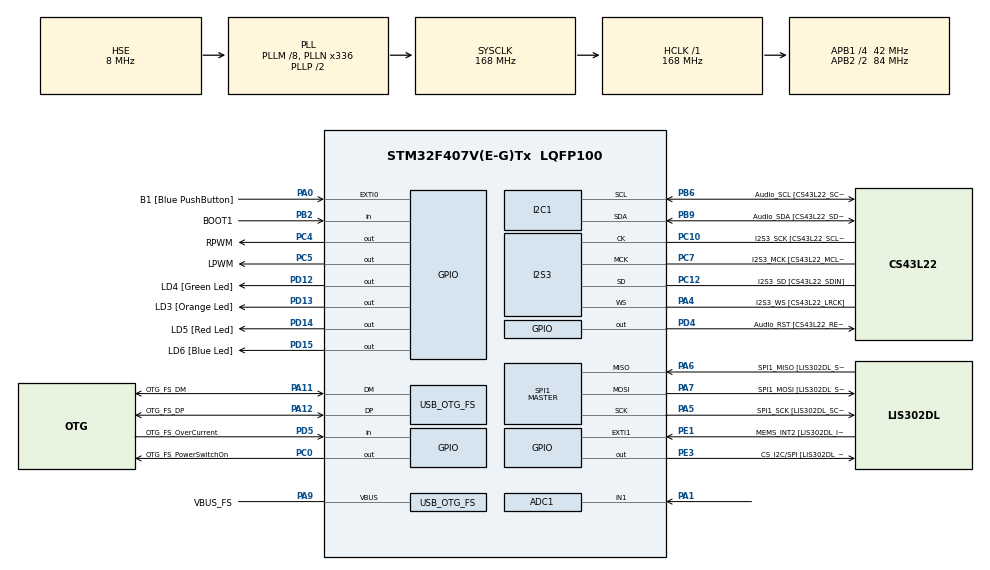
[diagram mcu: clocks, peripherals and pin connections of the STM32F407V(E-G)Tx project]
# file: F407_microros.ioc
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ADC1.Channel-1\#ChannelRegularConversion=ADC_CHANNEL_1
ADC1.NbrOfConversionFlag=1
ADC1.Rank-1\#ChannelRegularConversion=1
ADC1.SamplingTime-1\#ChannelRegularConversion=ADC_SAMPLETIME_3CYCLES
ADC1.master=1
Dma.ADC1.0.Direction=DMA_PERIPH_TO_MEMORY
Dma.ADC1.0.FIFOMode=DMA_FIFOMODE_DISABLE
Dma.ADC1.0.Instance=DMA2_Stream0
Dma.ADC1.0.MemDataAlignment=DMA_MDATAALIGN_HALFWORD
Dma.ADC1.0.MemInc=DMA_MINC_ENABLE
Dma.ADC1.0.Mode=DMA_NORMAL
Dma.ADC1.0.PeriphDataAlignment=DMA_PDATAALIGN_HALFWORD
Dma.ADC1.0.PeriphInc=DMA_PINC_DISABLE
Dma.ADC1.0.Priority=DMA_PRIORITY_LOW
Dma.Request0=ADC1
FREERTOS.Tasks01=defaultTask,24,3000,StartDefaultTask,Default,NULL,Dynamic,NULL,NULL
I2S3.AudioFreq-Half_Duplex_Master=I2S_AUDIOFREQ_96K
I2S3.ErrorAudioFreq=-2.34 %
I2S3.ErrorAudioFreq-Half_Duplex_Master=0.8 %
I2S3.FullDuplexMode=I2S_FULLDUPLEXMODE_DISABLE
I2S3.Instance=SPI$Index
I2S3.RealAudioFreq=93.75 KHz
I2S3.RealAudioFreq-Half_Duplex_Master=96.774 KHz
I2S3.VirtualMode=I2S_MODE_MASTER
Mcu.Family=STM32F4
Mcu.Name=STM32F407V(E-G)Tx
Mcu.Package=LQFP100
NVIC.DMA2_Stream0_IRQn=true\:5\:0\:false\:false\:true\:true\:false\:true\:true
NVIC.OTG_FS_IRQn=true\:5\:0\:false\:false\:true\:true\:true\:true\:true
NVIC.PriorityGroup=NVIC_PRIORITYGROUP_4
PA0-WKUP.GPIO_Label=B1 [Blue PushButton]
PA0-WKUP.GPIO_ModeDefaultEXTI=GPIO_MODE_EVT_RISING
PA0-WKUP.GPIO_PuPd=GPIO_NOPULL
PA0-WKUP.Signal=GPXTI0
PA1.Signal=ADCx_IN1
PA10.GPIO_Label=OTG_FS_ID
PA10.GPIO_Mode=GPIO_MODE_AF_PP
PA10.GPIO_PuPd=GPIO_NOPULL
PA10.GPIO_Speed=GPIO_SPEED_FREQ_LOW
PA10.Signal=USB_OTG_FS_ID
PA11.GPIO_Label=OTG_FS_DM
PA11.GPIO_Mode=GPIO_MODE_AF_PP
PA11.GPIO_PuPd=GPIO_NOPULL
PA11.GPIO_Speed=GPIO_SPEED_FREQ_LOW
PA11.Mode=Host_Only
PA11.Signal=USB_OTG_FS_DM
PA12.GPIO_Label=OTG_FS_DP
PA12.GPIO_Mode=GPIO_MODE_AF_PP
PA12.GPIO_PuPd=GPIO_NOPULL
PA12.GPIO_Speed=GPIO_SPEED_FREQ_LOW
PA12.Mode=Host_Only
PA12.Signal=USB_OTG_FS_DP
PA13.GPIO_Label=SWDIO
PA13.Mode=Serial_Wire
PA13.Signal=SYS_JTMS-SWDIO
PA14.GPIO_Label=SWCLK
PA14.Mode=Serial_Wire
PA14.Signal=SYS_JTCK-SWCLK
PA4.GPIO_Label=I2S3_WS [CS43L22_LRCK]
PA4.GPIO_Mode=GPIO_MODE_AF_PP
PA4.GPIO_PuPd=GPIO_NOPULL
PA4.GPIO_Speed=GPIO_SPEED_FREQ_LOW
PA4.Mode=Half_Duplex_Master
PA4.Signal=I2S3_WS
PA5.GPIO_Label=SPI1_SCK [LIS302DL_SCL/SPC]
PA5.GPIO_Mode=GPIO_MODE_AF_PP
PA5.GPIO_PuPd=GPIO_NOPULL
PA5.GPIO_Speed=GPIO_SPEED_FREQ_LOW
PA5.Mode=Full_Duplex_Master
PA5.Signal=SPI1_SCK
PA6.GPIO_Label=SPI1_MISO [LIS302DL_SDO]
PA6.GPIO_Mode=GPIO_MODE_AF_PP
PA6.GPIO_PuPd=GPIO_NOPULL
PA6.GPIO_Speed=GPIO_SPEED_FREQ_LOW
PA6.Mode=Full_Duplex_Master
PA6.Signal=SPI1_MISO
PA7.GPIO_Label=SPI1_MOSI [LIS302DL_SDA/SDI/SDO]
PA7.GPIO_Mode=GPIO_MODE_AF_PP
PA7.GPIO_PuPd=GPIO_NOPULL
PA7.GPIO_Speed=GPIO_SPEED_FREQ_LOW
PA7.Mode=Full_Duplex_Master
PA7.Signal=SPI1_MOSI
PA9.GPIO_Label=VBUS_FS
PA9.GPIO_Mode=GPIO_MODE_INPUT
PA9.GPIO_PuPd=GPIO_NOPULL
PA9.Mode=Activate_VBUS
PA9.Signal=USB_OTG_FS_VBUS
PB10.GPIO_Label=CLK_IN [MP45DT02_CLK]
PB10.GPIO_Mode=GPIO_MODE_AF_PP
PB10.GPIO_PuPd=GPIO_NOPULL
PB10.GPIO_Speed=GPIO_SPEED_FREQ_LOW
PB10.Signal=I2S2_CK
PB2.GPIO_Label=BOOT1
PB2.GPIO_Mode=GPIO_MODE_INPUT
PB2.GPIO_PuPd=GPIO_NOPULL
PB2.Signal=GPIO_Input
PB3.GPIO_Label=SWO
PB3.Signal=SYS_JTDO-SWO
PB6.GPIO_Label=Audio_SCL [CS43L22_SCL]
PB6.GPIO_Mode=GPIO_MODE_AF_OD
PB6.GPIO_Pu=GPIO_PULLUP
PB6.GPIO_PuPd=GPIO_NOPULL
PB6.GPIO_Speed=GPIO_SPEED_FREQ_LOW
PB6.Mode=I2C
PB6.Signal=I2C1_SCL
PB9.GPIO_Label=Audio_SDA [CS43L22_SDA]
PB9.GPIO_Mode=GPIO_MODE_AF_OD
PB9.GPIO_Pu=GPIO_PULLUP
PB9.GPIO_PuPd=GPIO_NOPULL
PB9.GPIO_Speed=GPIO_SPEED_FREQ_LOW
PB9.Mode=I2C
PB9.Signal=I2C1_SDA
PC0.GPIO_Label=OTG_FS_PowerSwitchOn
PC0.GPIO_PuPd=GPIO_NOPULL
PC0.GPIO_Speed=GPIO_SPEED_FREQ_LOW
PC0.PinState=GPIO_PIN_SET
PC0.Signal=GPIO_Output
PC10.GPIO_Label=I2S3_SCK [CS43L22_SCLK]
PC10.GPIO_Mode=GPIO_MODE_AF_PP
PC10.GPIO_PuPd=GPIO_NOPULL
PC10.GPIO_Speed=GPIO_SPEED_FREQ_LOW
PC10.Mode=Half_Duplex_Master
PC10.Signal=I2S3_CK
PC12.GPIO_Label=I2S3_SD [CS43L22_SDIN]
PC12.GPIO_Mode=GPIO_MODE_AF_PP
PC12.GPIO_PuPd=GPIO_NOPULL
PC12.GPIO_Speed=GPIO_SPEED_FREQ_LOW
PC12.Mode=Half_Duplex_Master
PC12.Signal=I2S3_SD
PC14-OSC32_IN.GPIO_Label=PC14-OSC32_IN
PC14-OSC32_IN.Mode=LSE-External-Oscillator
PC14-OSC32_IN.Signal=RCC_OSC32_IN
PC15-OSC32_OUT.GPIO_Label=PC15-OSC32_OUT
PC15-OSC32_OUT.Mode=LSE-External-Oscillator
PC15-OSC32_OUT.Signal=RCC_OSC32_OUT
PC3.GPIO_Label=PDM_OUT [MP45DT02_DOUT]
PC3.GPIO_Mode=GPIO_MODE_AF_PP
PC3.GPIO_PuPd=GPIO_NOPULL
PC3.GPIO_Speed=GPIO_SPEED_FREQ_LOW
PC3.Signal=I2S2_SD
PC4.GPIO_Label=RPWM
PC4.Signal=GPIO_Output
PC5.GPIO_Label=LPWM
PC5.Signal=GPIO_Output
PC7.GPIO_Label=I2S3_MCK [CS43L22_MCLK]
PC7.GPIO_Mode=GPIO_MODE_AF_PP
PC7.GPIO_PuPd=GPIO_NOPULL
PC7.GPIO_Speed=GPIO_SPEED_FREQ_LOW
PC7.Mode=Master_Clock_Activated
PC7.Signal=I2S3_MCK
PD12.GPIO_Label=LD4 [Green Led]
PD12.GPIO_PuPd=GPIO_NOPULL
PD12.GPIO_Speed=GPIO_SPEED_FREQ_LOW
PD12.Signal=GPIO_Output
PD13.GPIO_Label=LD3 [Orange Led]
PD13.GPIO_PuPd=GPIO_NOPULL
PD13.GPIO_Speed=GPIO_SPEED_FREQ_LOW
PD13.Signal=GPIO_Output
PD14.GPIO_Label=LD5 [Red Led]
PD14.GPIO_PuPd=GPIO_NOPULL
PD14.GPIO_Speed=GPIO_SPEED_FREQ_LOW
PD14.Signal=GPIO_Output
PD15.GPIO_Label=LD6 [Blue Led]
PD15.GPIO_PuPd=GPIO_NOPULL
PD15.GPIO_Speed=GPIO_SPEED_FREQ_LOW
PD15.Signal=GPIO_Output
PD4.GPIO_Label=Audio_RST [CS43L22_RESET]
PD4.GPIO_PuPd=GPIO_NOPULL
PD4.GPIO_Speed=GPIO_SPEED_FREQ_LOW
PD4.Signal=GPIO_Output
PD5.GPIO_Label=OTG_FS_OverCurrent
PD5.GPIO_Mode=GPIO_MODE_INPUT
PD5.GPIO_PuPd=GPIO_NOPULL
PD5.Signal=GPIO_Input
PE1.GPIO_Label=MEMS_INT2 [LIS302DL_INT2]
PE1.GPIO_ModeDefaultEXTI=GPIO_MODE_EVT_RISING
PE1.GPIO_PuPd=GPIO_NOPULL
PE1.Signal=GPXTI1
PE3.GPIO_Label=CS_I2C/SPI [LIS302DL_CS_I2C/SPI]
PE3.GPIO_PuPd=GPIO_NOPULL
PE3.GPIO_Speed=GPIO_SPEED_FREQ_LOW
PE3.Signal=GPIO_Output
PH0-OSC_IN.GPIO_Label=PH0-OSC_IN
PH0-OSC_IN.Mode=HSE-External-Oscillator
PH0-OSC_IN.Signal=RCC_OSC_IN
PH1-OSC_OUT.GPIO_Label=PH1-OSC_OUT
PH1-OSC_OUT.Mode=HSE-External-Oscillator
PH1-OSC_OUT.Signal=RCC_OSC_OUT
ProjectManager.HeapSize=0x200
ProjectManager.StackSize=0x400
ProjectManager.TargetToolchain=STM32CubeIDE
RCC.48MHZClocksFreq_Value=48000000
RCC.AHBFreq_Value=168000000
RCC.APB1CLKDivider=RCC_HCLK_DIV4
RCC.APB1Freq_Value=42000000
RCC.APB1TimFreq_Value=84000000
RCC.APB2CLKDivider=RCC_HCLK_DIV2
RCC.APB2Freq_Value=84000000
RCC.APB2TimFreq_Value=168000000
RCC.CortexFreq_Value=168000000
RCC.HCLKFreq_Value=168000000
RCC.HSE_VALUE=8000000
RCC.HSI_VALUE=16000000
RCC.PLLM=8
RCC.PLLN=336
RCC.PLLQ=7
RCC.SYSCLKFreq_VALUE=168000000
RCC.SYSCLKSource=RCC_SYSCLKSOURCE_PLLCLK
RCC.VCOOutputFreq_Value=336000000
SH.ADCx_IN1.0=ADC1_IN1,IN1
SPI1.BaudRatePrescaler-Full_Duplex_Master=SPI_BAUDRATEPRESCALER_2
SPI1.CalculateBaudRate-Full_Duplex_Master=42.0 MBits/s
SPI1.Direction=SPI_DIRECTION_2LINES
SPI1.Mode=SPI_MODE_MASTER
SPI1.Mode-Full_Duplex_Master=SPI_MODE_MASTER
SPI1.VirtualType=VM_MASTER
USB_HOST.BSP.number=1
USB_HOST.USBH_HandleTypeDef-CDC_FS=hUsbHostFS
USB_HOST.USBH_USE_OS-CDC_FS=0
USB_HOST.VirtualModeFS=Cdc
USB_HOST0.BSP.STBoard=false
USB_HOST0.BSP.api=Unknown
USB_HOST0.BSP.instance=PC0
USB_HOST0.BSP.ip=GPIO
USB_HOST0.BSP.mode=Output
USB_HOST0.BSP.name=Drive_VBUS_FS
USB_HOST0.BSP.solution=PC0
USB_OTG_FS.VirtualMode=Host_Only
USB_OTG_FS.phy_itface=HCD_PHY_EMBEDDED
VP_FREERTOS_VS_CMSIS_V2.Mode=CMSIS_V2
VP_USB_HOST_VS_USB_HOST_CDC_FS.Mode=CDC_FS
board=STM32F407G-DISC1

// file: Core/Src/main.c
/* USER CODE BEGIN Header */
/**
  ******************************************************************************
  * @file           : main.c
  * @brief          : Main program body
  ******************************************************************************
  * @attention
  *
  * Copyright (c) 2023 STMicroelectronics.
  * All rights reserved.
  *
  * This software is licensed under terms that can be found in the LICENSE file
  * in the root directory of this software component.
  * If no LICENSE file comes with this software, it is provided AS-IS.
  *
  ******************************************************************************
  */
/* USER CODE END Header */
#include "main.h"
#include "cmsis_os.h"
#include "usb_host.h"

/* USER CODE BEGIN Includes */
#include <rcl/rcl.h>
#include <rcl/error_handling.h>
#include <rclc/rclc.h>
#include <rclc/executor.h>
#include <uxr/client/transport.h>
#include <rmw_microxrcedds_c/config.h>
#include <rmw_microros/rmw_microros.h>

#include <std_msgs/msg/int32.h>
/* USER CODE END Includes */

/* USER CODE BEGIN PTD */
void subscription_callback1(const void *msgin)
{
  const std_msgs__msg__Int32 *msg_input1 = (const std_msgs__msg__Int32 *)msgin;

  // Burada gelen veriyi işleyebilirsiniz, eğer başka bir işlem yapmanız gerekiyorsa.

  // Örneğin, gelen veriyi bir değişkene atayabilirsiniz.
  printf("Received: %ld\n", (long int)msg_input1->data);
}

void subscription_callback2(const void *msgin)
{
  const std_msgs__msg__Int32 *msg_input2 = (const std_msgs__msg__Int32 *)msgin;

  // Burada gelen veriyi işleyebilirsiniz, eğer başka bir işlem yapmanız gerekiyorsa.

  // Örneğin, gelen veriyi bir değişkene atayabilirsiniz.
  printf("Received: %ld\n", (long int)msg_input2->data);
}
/* USER CODE END PTD */

/* USER CODE BEGIN PD */
uint16_t adc_value;
/* USER CODE END PD */

ADC_HandleTypeDef hadc1;
DMA_HandleTypeDef hdma_adc1;

I2C_HandleTypeDef hi2c1;

I2S_HandleTypeDef hi2s3;

SPI_HandleTypeDef hspi1;

/* Definitions for defaultTask */
osThreadId_t defaultTaskHandle;
const osThreadAttr_t defaultTask_attributes = {
  .name = "defaultTask",
  .stack_size = 3000 * 4,
  .priority = (osPriority_t) osPriorityNormal,
};
/* USER CODE BEGIN PV */
int16_t Read_ADC()
{
	HAL_ADC_Start(&hadc1);

	if(HAL_ADC_PollForConversion(&hadc1, 100000)==HAL_OK)
		adc_value = HAL_ADC_GetValue(&hadc1);
	return adc_value;
	HAL_ADC_Stop(&hadc1);
}
/* USER CODE END PV */

void SystemClock_Config(void);
static void MX_GPIO_Init(void);
static void MX_DMA_Init(void);
static void MX_I2C1_Init(void);
static void MX_I2S3_Init(void);
static void MX_SPI1_Init(void);
static void MX_ADC1_Init(void);
void StartDefaultTask(void *argument);

int main(void)
{

  /* MCU Configuration--------------------------------------------------------*/

  /* Reset of all peripherals, Initializes the Flash interface and the Systick. */
  HAL_Init();

  /* Configure the system clock */
  SystemClock_Config();

  /* Initialize all configured peripherals */
  MX_GPIO_Init();
  MX_DMA_Init();
  MX_I2C1_Init();
  MX_I2S3_Init();
  MX_SPI1_Init();
  MX_ADC1_Init();

  /* Init scheduler */
  osKernelInitialize();

  /* Create the thread(s) */
  /* creation of defaultTask */
  defaultTaskHandle = osThreadNew(StartDefaultTask, NULL, &defaultTask_attributes);

  /* Start scheduler */
  osKernelStart();

  /* We should never get here as control is now taken by the scheduler */
  /* Infinite loop */
  while (1)
  {

  }
}

void SystemClock_Config(void)
{
  RCC_OscInitTypeDef RCC_OscInitStruct = {0};
  RCC_ClkInitTypeDef RCC_ClkInitStruct = {0};

  /** Configure the main internal regulator output voltage
  */
  __HAL_RCC_PWR_CLK_ENABLE();
  __HAL_PWR_VOLTAGESCALING_CONFIG(PWR_REGULATOR_VOLTAGE_SCALE1);

  /** Initializes the RCC Oscillators according to the specified parameters
  * in the RCC_OscInitTypeDef structure.
  */
  RCC_OscInitStruct.OscillatorType = RCC_OSCILLATORTYPE_HSE;
  RCC_OscInitStruct.HSEState = RCC_HSE_ON;
  RCC_OscInitStruct.PLL.PLLState = RCC_PLL_ON;
  RCC_OscInitStruct.PLL.PLLSource = RCC_PLLSOURCE_HSE;
  RCC_OscInitStruct.PLL.PLLM = 8;
  RCC_OscInitStruct.PLL.PLLN = 336;
  RCC_OscInitStruct.PLL.PLLP = RCC_PLLP_DIV2;
  RCC_OscInitStruct.PLL.PLLQ = 7;
  if (HAL_RCC_OscConfig(&RCC_OscInitStruct) != HAL_OK)
  {
    Error_Handler();
  }

  /** Initializes the CPU, AHB and APB buses clocks
  */
  RCC_ClkInitStruct.ClockType = RCC_CLOCKTYPE_HCLK|RCC_CLOCKTYPE_SYSCLK
                              |RCC_CLOCKTYPE_PCLK1|RCC_CLOCKTYPE_PCLK2;
  RCC_ClkInitStruct.SYSCLKSource = RCC_SYSCLKSOURCE_PLLCLK;
  RCC_ClkInitStruct.AHBCLKDivider = RCC_SYSCLK_DIV1;
  RCC_ClkInitStruct.APB1CLKDivider = RCC_HCLK_DIV4;
  RCC_ClkInitStruct.APB2CLKDivider = RCC_HCLK_DIV2;

  if (HAL_RCC_ClockConfig(&RCC_ClkInitStruct, FLASH_LATENCY_5) != HAL_OK)
  {
    Error_Handler();
  }
}

static void MX_ADC1_Init(void)
{

  ADC_ChannelConfTypeDef sConfig = {0};

  /** Configure the global features of the ADC (Clock, Resolution, Data Alignment and number of conversion)
  */
  hadc1.Instance = ADC1;
  hadc1.Init.ClockPrescaler = ADC_CLOCK_SYNC_PCLK_DIV4;
  hadc1.Init.Resolution = ADC_RESOLUTION_12B;
  hadc1.Init.ScanConvMode = DISABLE;
  hadc1.Init.ContinuousConvMode = DISABLE;
  hadc1.Init.DiscontinuousConvMode = DISABLE;
  hadc1.Init.ExternalTrigConvEdge = ADC_EXTERNALTRIGCONVEDGE_NONE;
  hadc1.Init.ExternalTrigConv = ADC_SOFTWARE_START;
  hadc1.Init.DataAlign = ADC_DATAALIGN_RIGHT;
  hadc1.Init.NbrOfConversion = 1;
  hadc1.Init.DMAContinuousRequests = DISABLE;
  hadc1.Init.EOCSelection = ADC_EOC_SINGLE_CONV;
  if (HAL_ADC_Init(&hadc1) != HAL_OK)
  {
    Error_Handler();
  }

  /** Configure for the selected ADC regular channel its corresponding rank in the sequencer and its sample time.
  */
  sConfig.Channel = ADC_CHANNEL_1;
  sConfig.Rank = 1;
  sConfig.SamplingTime = ADC_SAMPLETIME_3CYCLES;
  if (HAL_ADC_ConfigChannel(&hadc1, &sConfig) != HAL_OK)
  {
    Error_Handler();
  }

}

static void MX_I2C1_Init(void)
{

  hi2c1.Instance = I2C1;
  hi2c1.Init.ClockSpeed = 100000;
  hi2c1.Init.DutyCycle = I2C_DUTYCYCLE_2;
  hi2c1.Init.OwnAddress1 = 0;
  hi2c1.Init.AddressingMode = I2C_ADDRESSINGMODE_7BIT;
  hi2c1.Init.DualAddressMode = I2C_DUALADDRESS_DISABLE;
  hi2c1.Init.OwnAddress2 = 0;
  hi2c1.Init.GeneralCallMode = I2C_GENERALCALL_DISABLE;
  hi2c1.Init.NoStretchMode = I2C_NOSTRETCH_DISABLE;
  if (HAL_I2C_Init(&hi2c1) != HAL_OK)
  {
    Error_Handler();
  }

}

static void MX_I2S3_Init(void)
{

  hi2s3.Instance = SPI3;
  hi2s3.Init.Mode = I2S_MODE_MASTER_TX;
  hi2s3.Init.Standard = I2S_STANDARD_PHILIPS;
  hi2s3.Init.DataFormat = I2S_DATAFORMAT_16B;
  hi2s3.Init.MCLKOutput = I2S_MCLKOUTPUT_ENABLE;
  hi2s3.Init.AudioFreq = I2S_AUDIOFREQ_96K;
  hi2s3.Init.CPOL = I2S_CPOL_LOW;
  hi2s3.Init.ClockSource = I2S_CLOCK_PLL;
  hi2s3.Init.FullDuplexMode = I2S_FULLDUPLEXMODE_DISABLE;
  if (HAL_I2S_Init(&hi2s3) != HAL_OK)
  {
    Error_Handler();
  }

}

static void MX_SPI1_Init(void)
{

  /* SPI1 parameter configuration*/
  hspi1.Instance = SPI1;
  hspi1.Init.Mode = SPI_MODE_MASTER;
  hspi1.Init.Direction = SPI_DIRECTION_2LINES;
  hspi1.Init.DataSize = SPI_DATASIZE_8BIT;
  hspi1.Init.CLKPolarity = SPI_POLARITY_LOW;
  hspi1.Init.CLKPhase = SPI_PHASE_1EDGE;
  hspi1.Init.NSS = SPI_NSS_SOFT;
  hspi1.Init.BaudRatePrescaler = SPI_BAUDRATEPRESCALER_2;
  hspi1.Init.FirstBit = SPI_FIRSTBIT_MSB;
  hspi1.Init.TIMode = SPI_TIMODE_DISABLE;
  hspi1.Init.CRCCalculation = SPI_CRCCALCULATION_DISABLE;
  hspi1.Init.CRCPolynomial = 10;
  if (HAL_SPI_Init(&hspi1) != HAL_OK)
  {
    Error_Handler();
  }

}

static void MX_DMA_Init(void)
{

  /* DMA controller clock enable */
  __HAL_RCC_DMA2_CLK_ENABLE();

  /* DMA interrupt init */
  /* DMA2_Stream0_IRQn interrupt configuration */
  HAL_NVIC_SetPriority(DMA2_Stream0_IRQn, 5, 0);
  HAL_NVIC_EnableIRQ(DMA2_Stream0_IRQn);

}

static void MX_GPIO_Init(void)
{
  GPIO_InitTypeDef GPIO_InitStruct = {0};

  /* GPIO Ports Clock Enable */
  __HAL_RCC_GPIOE_CLK_ENABLE();
  __HAL_RCC_GPIOC_CLK_ENABLE();
  __HAL_RCC_GPIOH_CLK_ENABLE();
  __HAL_RCC_GPIOA_CLK_ENABLE();
  __HAL_RCC_GPIOB_CLK_ENABLE();
  __HAL_RCC_GPIOD_CLK_ENABLE();

  /*Configure GPIO pin Output Level */
  HAL_GPIO_WritePin(CS_I2C_SPI_GPIO_Port, CS_I2C_SPI_Pin, GPIO_PIN_RESET);

  /*Configure GPIO pin Output Level */
  HAL_GPIO_WritePin(OTG_FS_PowerSwitchOn_GPIO_Port, OTG_FS_PowerSwitchOn_Pin, GPIO_PIN_SET);

  /*Configure GPIO pin Output Level */
  HAL_GPIO_WritePin(GPIOC, RPWM_Pin|LPWM_Pin, GPIO_PIN_RESET);

  /*Configure GPIO pin Output Level */
  HAL_GPIO_WritePin(GPIOD, LD4_Pin|LD3_Pin|LD5_Pin|LD6_Pin
                          |Audio_RST_Pin, GPIO_PIN_RESET);

  /*Configure GPIO pin : CS_I2C_SPI_Pin */
  GPIO_InitStruct.Pin = CS_I2C_SPI_Pin;
  GPIO_InitStruct.Mode = GPIO_MODE_OUTPUT_PP;
  GPIO_InitStruct.Pull = GPIO_NOPULL;
  GPIO_InitStruct.Speed = GPIO_SPEED_FREQ_LOW;
  HAL_GPIO_Init(CS_I2C_SPI_GPIO_Port, &GPIO_InitStruct);

  /*Configure GPIO pins : OTG_FS_PowerSwitchOn_Pin RPWM_Pin LPWM_Pin */
  GPIO_InitStruct.Pin = OTG_FS_PowerSwitchOn_Pin|RPWM_Pin|LPWM_Pin;
  GPIO_InitStruct.Mode = GPIO_MODE_OUTPUT_PP;
  GPIO_InitStruct.Pull = GPIO_NOPULL;
  GPIO_InitStruct.Speed = GPIO_SPEED_FREQ_LOW;
  HAL_GPIO_Init(GPIOC, &GPIO_InitStruct);

  /*Configure GPIO pin : PDM_OUT_Pin */
  GPIO_InitStruct.Pin = PDM_OUT_Pin;
  GPIO_InitStruct.Mode = GPIO_MODE_AF_PP;
  GPIO_InitStruct.Pull = GPIO_NOPULL;
  GPIO_InitStruct.Speed = GPIO_SPEED_FREQ_LOW;
  GPIO_InitStruct.Alternate = GPIO_AF5_SPI2;
  HAL_GPIO_Init(PDM_OUT_GPIO_Port, &GPIO_InitStruct);

  /*Configure GPIO pin : B1_Pin */
  GPIO_InitStruct.Pin = B1_Pin;
  GPIO_InitStruct.Mode = GPIO_MODE_EVT_RISING;
  GPIO_InitStruct.Pull = GPIO_NOPULL;
  HAL_GPIO_Init(B1_GPIO_Port, &GPIO_InitStruct);

  /*Configure GPIO pin : BOOT1_Pin */
  GPIO_InitStruct.Pin = BOOT1_Pin;
  GPIO_InitStruct.Mode = GPIO_MODE_INPUT;
  GPIO_InitStruct.Pull = GPIO_NOPULL;
  HAL_GPIO_Init(BOOT1_GPIO_Port, &GPIO_InitStruct);

  /*Configure GPIO pin : CLK_IN_Pin */
  GPIO_InitStruct.Pin = CLK_IN_Pin;
  GPIO_InitStruct.Mode = GPIO_MODE_AF_PP;
  GPIO_InitStruct.Pull = GPIO_NOPULL;
  GPIO_InitStruct.Speed = GPIO_SPEED_FREQ_LOW;
  GPIO_InitStruct.Alternate = GPIO_AF5_SPI2;
  HAL_GPIO_Init(CLK_IN_GPIO_Port, &GPIO_InitStruct);

  /*Configure GPIO pins : LD4_Pin LD3_Pin LD5_Pin LD6_Pin
                           Audio_RST_Pin */
  GPIO_InitStruct.Pin = LD4_Pin|LD3_Pin|LD5_Pin|LD6_Pin
                          |Audio_RST_Pin;
  GPIO_InitStruct.Mode = GPIO_MODE_OUTPUT_PP;
  GPIO_InitStruct.Pull = GPIO_NOPULL;
  GPIO_InitStruct.Speed = GPIO_SPEED_FREQ_LOW;
  HAL_GPIO_Init(GPIOD, &GPIO_InitStruct);

  /*Configure GPIO pin : OTG_FS_OverCurrent_Pin */
  GPIO_InitStruct.Pin = OTG_FS_OverCurrent_Pin;
  GPIO_InitStruct.Mode = GPIO_MODE_INPUT;
  GPIO_InitStruct.Pull = GPIO_NOPULL;
  HAL_GPIO_Init(OTG_FS_OverCurrent_GPIO_Port, &GPIO_InitStruct);

  /*Configure GPIO pin : MEMS_INT2_Pin */
  GPIO_InitStruct.Pin = MEMS_INT2_Pin;
  GPIO_InitStruct.Mode = GPIO_MODE_EVT_RISING;
  GPIO_InitStruct.Pull = GPIO_NOPULL;
  HAL_GPIO_Init(MEMS_INT2_GPIO_Port, &GPIO_InitStruct);

}

/* USER CODE BEGIN 4 */
bool cubemx_transport_open(struct uxrCustomTransport * transport);
bool cubemx_transport_close(struct uxrCustomTransport * transport);
size_t cubemx_transport_write(struct uxrCustomTransport* transport, const uint8_t * buf, size_t len, uint8_t * err);
size_t cubemx_transport_read(struct uxrCustomTransport* transport, uint8_t* buf, size_t len, int timeout, uint8_t* err);

void * microros_allocate(size_t size, void * state);
void microros_deallocate(void * pointer, void * state);
void * microros_reallocate(void * pointer, size_t size, void * state);
void * microros_zero_allocate(size_t number_of_elements, size_t size_of_element, void * state);
/* USER CODE END 4 */

void StartDefaultTask(void *argument)
{
  /* init code for USB_HOST */
  MX_USB_HOST_Init();
  /* USER CODE BEGIN 5 */

    // micro-ROS configuration

    rmw_uros_set_custom_transport(
      true,
      (void *) &huart2,
      cubemx_transport_open,
      cubemx_transport_close,
      cubemx_transport_write,
      cubemx_transport_read);

    rcl_allocator_t freeRTOS_allocator = rcutils_get_zero_initialized_allocator();
    freeRTOS_allocator.allocate = microros_allocate;
    freeRTOS_allocator.deallocate = microros_deallocate;
    freeRTOS_allocator.reallocate = microros_reallocate;
    freeRTOS_allocator.zero_allocate =  microros_zero_allocate;

    if (!rcutils_set_default_allocator(&freeRTOS_allocator)) {
        printf("Error on default allocators (line %d)\n", __LINE__);
    }

    // micro-ROS app

    rcl_publisher_t publisher;
    rcl_subscription_t subscriber2;
    rcl_subscription_t subscriber1;
    //std_msgs__msg__Int32 msg_input1;
    std_msgs__msg__Int32 msg;
    //std_msgs__msg__Int32 msg_result;
    rclc_support_t support;
    rcl_allocator_t allocator;
    rcl_node_t node;
    rclc_executor_t executor;

    const char * topic_name = "test_topic";
    const char * topic_name2 = "test_topic2";
    allocator = rcl_get_default_allocator();

    rclc_executor_init(&executor, &support.context, 2, &allocator);

    //create init_options
    rclc_support_init(&support, 0, NULL, &allocator);

    // create node
    rclc_node_init_default(&node, "cubemx_node", "", &support);

    rclc_subscription_init_default(
      &subscriber1,
  	&node,
  	ROSIDL_GET_MSG_TYPE_SUPPORT(std_msgs, msg, Int32),
  	topic_name);

    rclc_subscription_init_default(
      &subscriber2,
      &node,
      ROSIDL_GET_MSG_TYPE_SUPPORT(std_msgs, msg, Int32),
      topic_name2);

    // create publisher for the result
    rclc_publisher_init_default(
      &publisher,
      &node,
	  ROSIDL_GET_MSG_TYPE_SUPPORT(std_msgs, msg, Int32),
      topic_name);

    /*msg_input1.data = 0;
    msg_input2.data = 0;
    msg_result.data = 0;*/
    msg.data=0;

    for(;;)
    {
  	    /*rcl_ret_t ret1 = rclc_executor_add_subscription(
  	      &executor, &subscriber1, &msg_input1,
  	      &subscription_callback1, ON_NEW_DATA);*/

  	    /*rcl_ret_t ret2 = rclc_executor_add_subscription(
  	      &executor, &subscriber2, &msg_input2,
  	      &subscription_callback2, ON_NEW_DATA);*/

  	    /*if (ret1 != RCL_RET_OK || ret2 != RCL_RET_OK)
  	    {
  	      printf("Error adding subscriptions (line %d)\n", __LINE__);
  	    }
*/
  	    // Calculate the sum
  	    //msg_result.data = msg_input1.data + msg_input2.data;

  	    // Publish the result
  	    rcl_ret_t ret_publish = rcl_publish(&publisher, &msg, NULL);
  	    if (ret_publish != RCL_RET_OK)
  	    {
  	      printf("Error publishing result (line %d)\n", __LINE__);
  	    }
  	    msg.data=Read_ADC();
  	    osDelay(10);
  	  }
  /* USER CODE END 5 */
}

void Error_Handler(void)
{
  __disable_irq();
  while (1)
  {
  }
}
